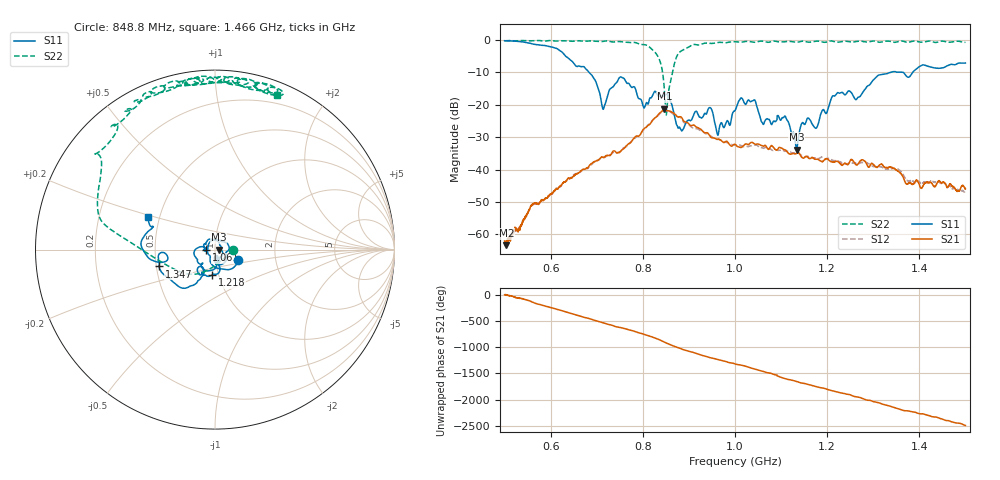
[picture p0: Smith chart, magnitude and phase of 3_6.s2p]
!Agilent Technologies,E8364B,US42250235,A.06.04.32
!Agilent E8364B: A.06.04.32
!Date: Thursday, October 01, 2020 11:18:45
!Correction: S11(Full 2 Port(1,2)) S21(Full 2 Port(1,2)) S12(Full 2 Port(1,2)) S22(Full 2 Port(1,2))
!S2P File: Measurements: S11, S21, S12, S22:
# Hz S  dB  R 50
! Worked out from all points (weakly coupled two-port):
!   2650 points, 500 MHz to 1.5 GHz, reference 50 ohm
!   highest |S21| = -21.20 dB at 846.9 MHz (marker M1); lowest = -63.4 dB at 503.8 MHz (marker M2)
!   lowest |S11| = -33.8 dB at 1.134 GHz (marker M3), VSWR 1.04, Z = 52.1 - j0.123 ohm
!   |S11| at or under -10 dB: 683.3 MHz to 1.337 GHz (653.9 MHz wide, 64.7 % of centre); 1.365 GHz to 1.386 GHz (20.49 MHz wide, 1.49 % of centre)
!   |S22| runs from -23.2 to -0.1 dB; largest |S21 - S12| = 0.02
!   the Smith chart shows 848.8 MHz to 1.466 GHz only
!   S11 on the Smith chart (normalised r, x): 848.8 MHz: 1.29, -0.15; 1.061 GHz: 0.91, -0.01; 1.218 GHz: 0.93, -0.27; 1.347 GHz: 0.52, -0.11; 1.466 GHz: 0.43, +0.19
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5e8  -0.21 -175.1  -62.04 -4.0  -63.16 -7.8  -0.24 136.3
5.03775e8  -0.24 -177.1  -63.36 -2.1  -63.33 -11.6  -0.22 135.4
6.026803e8  -2.13 118.1  -47.26 104.8  -47.50 100.5  -0.22 130.0
6.668554e8  -8.22 77.8  -40.23 -57.9  -40.45 -64.9  -0.31 121.4
7.144205e8  -21.31 73.7  -36.25 178.3  -36.21 168.6  -0.40 111.0
7.525481e8  -11.37 71.4  -34.26 89.3  -34.10 79.3  -0.50 107.8
8.080408e8  -19.30 38.7  -26.82 -52.8  -26.85 -63.6  -1.57 81.7
8.337108e8  -17.34 2.1  -22.95 -132.3  -23.20 -146.2  -5.32 47.2
8.469234e8  -17.11 -17.4  -21.20 174.2  -21.41 161.2  -15.69 17.0
8.488109e8  -16.89 -24.3  -21.35 164.9  -21.51 151.9  -19.95 -2.3
8.83541e8  -27.90 179.6  -23.82 45.2  -24.23 30.9  -3.35 162.9
1.000189e9  -21.73 -84.4  -32.21 119.2  -32.39 107.9  -0.52 118.4
1.040581e9  -18.53 -162.2  -31.88 26.1  -32.56 18.5  -0.69 111.6
1.061344e9  -26.02 -175.7  -32.76 -24.4  -33.41 -32.2  -0.38 111.7
1.108532e9  -23.46 122.9  -33.89 -159.7  -34.31 -141.7  -0.51 99.6
1.133824e9  -33.79 -3.3  -34.99 145.7  -34.71 158.2  -0.66 99.2
1.166667e9  -25.75 -92.4  -36.30 70.2  -36.24 84.3  -0.58 94.8
1.218007e9  -17.03 -96.0  -37.53 -43.8  -37.23 -33.4  -0.59 96.1
1.333522e9  -10.16 -151.0  -39.29 43.6  -39.89 60.2  -0.34 83.1
1.34749e9  -9.74 -163.2  -39.90 2.7  -39.75 22.6  -0.69 79.2
1.465647e9  -7.64 154.4  -44.55 112.1  -44.93 115.9  -0.68 68.2
1.5e9  -7.10 139.6  -45.91 27.6  -46.97 39.2  -0.68 60.4
